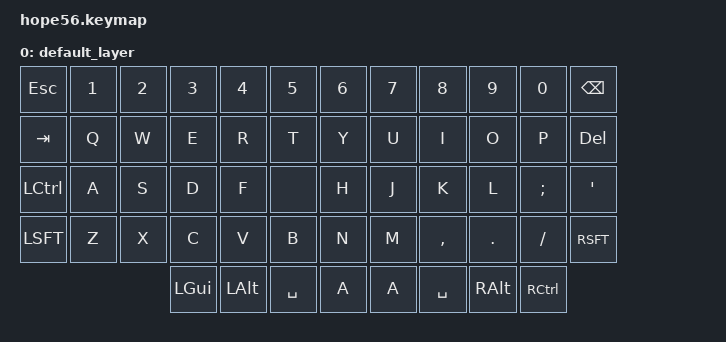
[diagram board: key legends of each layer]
#include <behaviors.dtsi>
#include <dt-bindings/zmk/keys.h>

/ {
    keymap {
        compatible = "zmk,keymap";

        default_layer { // Layer 0

bindings = <
    &kp ESC  &kp N1   &kp N2   &kp N3   &kp N4   &kp N5      &kp N6   &kp N7   &kp N8   &kp N9   &kp N0   &kp BSPC
    &kp TAB  &kp Q    &kp W    &kp E    &kp R    &kp T       &kp Y    &kp U    &kp I    &kp O    &kp P    &kp DEL
    &kp LCTRL &kp A   &kp S    &kp D    &kp F    &none       &kp H    &kp J    &kp K    &kp L    &kp SEMI &kp SQT
    &kp LSFT &kp Z    &kp X    &kp C    &kp V    &kp B       &kp N    &kp M    &kp COMMA &kp DOT &kp FSLH &kp RSFT
                               &kp LGUI &kp LALT &kp SPACE   &kp A    &kp A    &kp SPACE &kp RALT &kp RCTRL

            >;
        };
    };
 };


